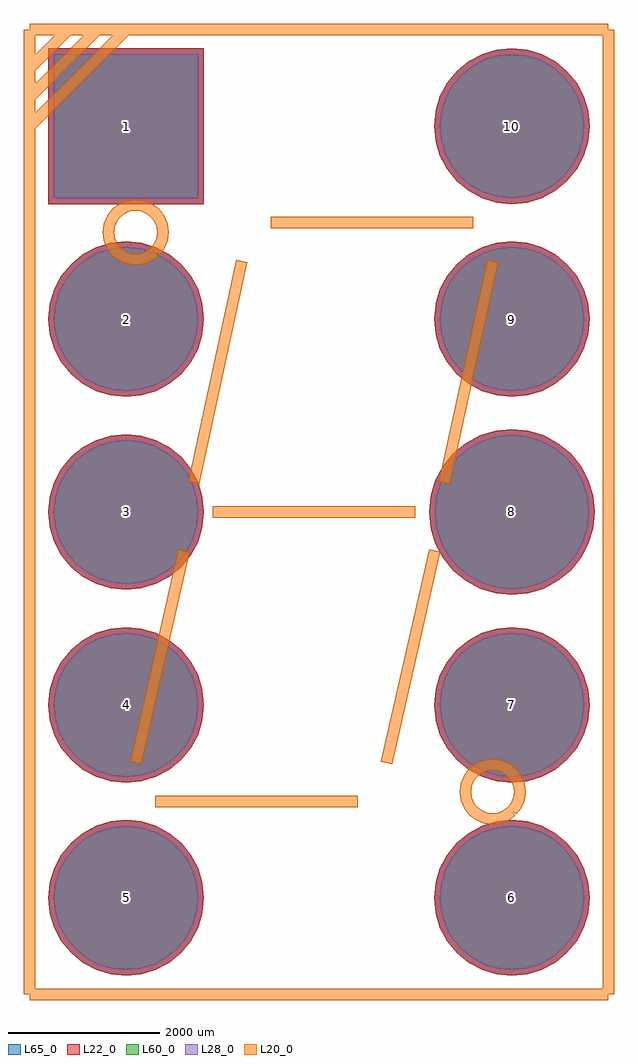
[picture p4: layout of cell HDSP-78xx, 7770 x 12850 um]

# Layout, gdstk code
import gdstk
lib = gdstk.Library(unit=1e-6, precision=1e-09)
def R(c, l, rs):  # rectangles x0, y0, x1, y1
    for r in rs: c.add(gdstk.rectangle(r[:2], r[2:], *l))
def P(c, l, *ps):  # polygons
    for p in ps: c.add(gdstk.Polygon(p, *l))
L20_0 = (20, 0)
L22_0 = (22, 0)
L28_0 = (28, 0)
L60_0 = (60, 0)
L65_0 = (65, 0)

hdsp_78xx = lib.new_cell('HDSP-78xx')
R(hdsp_78xx, L22_0, [(-3564.96,4055.04,-1515.04,6104.96)])
P(hdsp_78xx, L22_0, [(-1766.5,2540),(-1781.363,2690.902),(-1825.379,2836.006),(-1896.858,2969.734),(-1993.053,3086.947),(-2110.266,3183.142),(-2243.994,3254.621),(-2389.098,3298.637),(-2540,3313.5),(-2690.902,3298.637),(-2836.006,3254.621),(-2969.734,3183.142),(-3086.947,3086.947),(-3183.142,2969.734),(-3254.621,2836.006),(-3298.637,2690.902),(-3313.5,2540),(-3298.637,2389.098),(-3254.621,2243.994),(-3183.142,2110.266),(-3086.947,1993.053),(-2969.734,1896.858),(-2836.006,1825.379),(-2690.902,1781.363),(-2540,1766.5),(-2389.098,1781.363),(-2243.994,1825.379),(-2110.266,1896.858),(-1993.053,1993.053),(-1896.858,2110.266),(-1825.379,2243.994),(-1781.363,2389.098)],
  [(3564.96,5080),(3545.266,5279.96),(3486.94,5472.235),(3392.223,5649.437),(3264.756,5804.756),(3109.437,5932.223),(2932.235,6026.94),(2739.96,6085.266),(2540,6104.96),(2340.04,6085.266),(2147.765,6026.94),(1970.563,5932.223),(1815.244,5804.756),(1687.777,5649.437),(1593.06,5472.235),(1534.734,5279.96),(1515.04,5080),(1534.734,4880.04),(1593.06,4687.765),(1687.777,4510.563),(1815.244,4355.244),(1970.563,4227.777),(2147.765,4133.06),(2340.04,4074.734),(2540,4055.04),(2739.96,4074.734),(2932.235,4133.06),(3109.437,4227.777),(3264.756,4355.244),(3392.223,4510.563),(3486.94,4687.765),(3545.266,4880.04)],
  [(3564.96,2540),(3545.266,2739.96),(3486.94,2932.235),(3392.223,3109.437),(3264.756,3264.756),(3109.437,3392.223),(2932.235,3486.94),(2739.96,3545.266),(2540,3564.96),(2340.04,3545.266),(2147.765,3486.94),(1970.563,3392.223),(1815.244,3264.756),(1687.777,3109.437),(1593.06,2932.235),(1534.734,2739.96),(1515.04,2540),(1534.734,2340.04),(1593.06,2147.765),(1687.777,1970.563),(1815.244,1815.244),(1970.563,1687.777),(2147.765,1593.06),(2340.04,1534.734),(2540,1515.04),(2739.96,1534.734),(2932.235,1593.06),(3109.437,1687.777),(3264.756,1815.244),(3392.223,1970.563),(3486.94,2147.765),(3545.266,2340.04)],
  [(3631,0),(3610.037,212.844),(3547.953,417.508),(3447.133,606.127),(3311.453,771.453),(3146.127,907.133),(2957.508,1007.953),(2752.844,1070.037),(2540,1091),(2327.156,1070.037),(2122.492,1007.953),(1933.873,907.133),(1768.547,771.453),(1632.867,606.127),(1532.047,417.508),(1469.963,212.844),(1449,0),(1469.963,-212.844),(1532.047,-417.508),(1632.867,-606.127),(1768.547,-771.453),(1933.873,-907.133),(2122.492,-1007.953),(2327.156,-1070.037),(2540,-1091),(2752.844,-1070.037),(2957.508,-1007.953),(3146.127,-907.133),(3311.453,-771.453),(3447.133,-606.127),(3547.953,-417.508),(3610.037,-212.844)],
  [(3564.96,-2540),(3545.266,-2340.04),(3486.94,-2147.765),(3392.223,-1970.563),(3264.756,-1815.244),(3109.437,-1687.777),(2932.235,-1593.06),(2739.96,-1534.734),(2540,-1515.04),(2340.04,-1534.734),(2147.765,-1593.06),(1970.563,-1687.777),(1815.244,-1815.244),(1687.777,-1970.563),(1593.06,-2147.765),(1534.734,-2340.04),(1515.04,-2540),(1534.734,-2739.96),(1593.06,-2932.235),(1687.777,-3109.437),(1815.244,-3264.756),(1970.563,-3392.223),(2147.765,-3486.94),(2340.04,-3545.266),(2540,-3564.96),(2739.96,-3545.266),(2932.235,-3486.94),(3109.437,-3392.223),(3264.756,-3264.756),(3392.223,-3109.437),(3486.94,-2932.235),(3545.266,-2739.96)],
  [(3564.96,-5080),(3545.266,-4880.04),(3486.94,-4687.765),(3392.223,-4510.563),(3264.756,-4355.244),(3109.437,-4227.777),(2932.235,-4133.06),(2739.96,-4074.734),(2540,-4055.04),(2340.04,-4074.734),(2147.765,-4133.06),(1970.563,-4227.777),(1815.244,-4355.244),(1687.777,-4510.563),(1593.06,-4687.765),(1534.734,-4880.04),(1515.04,-5080),(1534.734,-5279.96),(1593.06,-5472.235),(1687.777,-5649.437),(1815.244,-5804.756),(1970.563,-5932.223),(2147.765,-6026.94),(2340.04,-6085.266),(2540,-6104.96),(2739.96,-6085.266),(2932.235,-6026.94),(3109.437,-5932.223),(3264.756,-5804.756),(3392.223,-5649.437),(3486.94,-5472.235),(3545.266,-5279.96)],
  [(-1515.04,-5080),(-1534.734,-4880.04),(-1593.06,-4687.765),(-1687.777,-4510.563),(-1815.244,-4355.244),(-1970.563,-4227.777),(-2147.765,-4133.06),(-2340.04,-4074.734),(-2540,-4055.04),(-2739.96,-4074.734),(-2932.235,-4133.06),(-3109.437,-4227.777),(-3264.756,-4355.244),(-3392.223,-4510.563),(-3486.94,-4687.765),(-3545.266,-4880.04),(-3564.96,-5080),(-3545.266,-5279.96),(-3486.94,-5472.235),(-3392.223,-5649.437),(-3264.756,-5804.756),(-3109.437,-5932.223),(-2932.235,-6026.94),(-2739.96,-6085.266),(-2540,-6104.96),(-2340.04,-6085.266),(-2147.765,-6026.94),(-1970.563,-5932.223),(-1815.244,-5804.756),(-1687.777,-5649.437),(-1593.06,-5472.235),(-1534.734,-5279.96)],
  [(-1515.04,-2540),(-1534.734,-2340.04),(-1593.06,-2147.765),(-1687.777,-1970.563),(-1815.244,-1815.244),(-1970.563,-1687.777),(-2147.765,-1593.06),(-2340.04,-1534.734),(-2540,-1515.04),(-2739.96,-1534.734),(-2932.235,-1593.06),(-3109.437,-1687.777),(-3264.756,-1815.244),(-3392.223,-1970.563),(-3486.94,-2147.765),(-3545.266,-2340.04),(-3564.96,-2540),(-3545.266,-2739.96),(-3486.94,-2932.235),(-3392.223,-3109.437),(-3264.756,-3264.756),(-3109.437,-3392.223),(-2932.235,-3486.94),(-2739.96,-3545.266),(-2540,-3564.96),(-2340.04,-3545.266),(-2147.765,-3486.94),(-1970.563,-3392.223),(-1815.244,-3264.756),(-1687.777,-3109.437),(-1593.06,-2932.235),(-1534.734,-2739.96)],
  [(-1515.04,0),(-1534.734,199.96),(-1593.06,392.235),(-1687.777,569.437),(-1815.244,724.756),(-1970.563,852.223),(-2147.765,946.94),(-2340.04,1005.266),(-2540,1024.96),(-2739.96,1005.266),(-2932.235,946.94),(-3109.437,852.223),(-3264.756,724.756),(-3392.223,569.437),(-3486.94,392.235),(-3545.266,199.96),(-3564.96,0),(-3545.266,-199.96),(-3486.94,-392.235),(-3392.223,-569.437),(-3264.756,-724.756),(-3109.437,-852.223),(-2932.235,-946.94),(-2739.96,-1005.266),(-2540,-1024.96),(-2340.04,-1005.266),(-2147.765,-946.94),(-1970.563,-852.223),(-1815.244,-724.756),(-1687.777,-569.437),(-1593.06,-392.235),(-1534.734,-199.96)],
  [(-1515.04,2540),(-1534.734,2739.96),(-1593.06,2932.235),(-1687.777,3109.437),(-1815.244,3264.756),(-1970.563,3392.223),(-2147.765,3486.94),(-2340.04,3545.266),(-2540,3564.96),(-2739.96,3545.266),(-2932.235,3486.94),(-3109.437,3392.223),(-3264.756,3264.756),(-3392.223,3109.437),(-3486.94,2932.235),(-3545.266,2739.96),(-3564.96,2540),(-3545.266,2340.04),(-3486.94,2147.765),(-3392.223,1970.563),(-3264.756,1815.244),(-3109.437,1687.777),(-2932.235,1593.06),(-2739.96,1534.734),(-2540,1515.04),(-2340.04,1534.734),(-2147.765,1593.06),(-1970.563,1687.777),(-1815.244,1815.244),(-1687.777,1970.563),(-1593.06,2147.765),(-1534.734,2340.04)])
R(hdsp_78xx, L28_0, [(-3489.96,4130.04,-1590.04,6029.96)])
P(hdsp_78xx, L28_0, [(-1841.5,2540),(-1854.921,2676.271),(-1894.67,2807.304),(-1959.218,2928.066),(-2046.086,3033.914),(-2151.934,3120.782),(-2272.696,3185.33),(-2403.729,3225.079),(-2540,3238.5),(-2676.271,3225.079),(-2807.304,3185.33),(-2928.066,3120.782),(-3033.914,3033.914),(-3120.782,2928.066),(-3185.33,2807.304),(-3225.079,2676.271),(-3238.5,2540),(-3225.079,2403.729),(-3185.33,2272.696),(-3120.782,2151.934),(-3033.914,2046.086),(-2928.066,1959.218),(-2807.304,1894.67),(-2676.271,1854.921),(-2540,1841.5),(-2403.729,1854.921),(-2272.696,1894.67),(-2151.934,1959.218),(-2046.086,2046.086),(-1959.218,2151.934),(-1894.67,2272.696),(-1854.921,2403.729)],
  [(3489.96,5080),(3471.707,5265.328),(3417.649,5443.534),(3329.863,5607.769),(3211.723,5751.723),(3067.769,5869.863),(2903.534,5957.649),(2725.328,6011.707),(2540,6029.96),(2354.672,6011.707),(2176.466,5957.649),(2012.231,5869.863),(1868.277,5751.723),(1750.137,5607.769),(1662.351,5443.534),(1608.293,5265.328),(1590.04,5080),(1608.293,4894.672),(1662.351,4716.466),(1750.137,4552.231),(1868.277,4408.277),(2012.231,4290.137),(2176.466,4202.351),(2354.672,4148.293),(2540,4130.04),(2725.328,4148.293),(2903.534,4202.351),(3067.769,4290.137),(3211.723,4408.277),(3329.863,4552.231),(3417.649,4716.466),(3471.707,4894.672)],
  [(3489.96,2540),(3471.707,2725.328),(3417.649,2903.534),(3329.863,3067.769),(3211.723,3211.723),(3067.769,3329.863),(2903.534,3417.649),(2725.328,3471.707),(2540,3489.96),(2354.672,3471.707),(2176.466,3417.649),(2012.231,3329.863),(1868.277,3211.723),(1750.137,3067.769),(1662.351,2903.534),(1608.293,2725.328),(1590.04,2540),(1608.293,2354.672),(1662.351,2176.466),(1750.137,2012.231),(1868.277,1868.277),(2012.231,1750.137),(2176.466,1662.351),(2354.672,1608.293),(2540,1590.04),(2725.328,1608.293),(2903.534,1662.351),(3067.769,1750.137),(3211.723,1868.277),(3329.863,2012.231),(3417.649,2176.466),(3471.707,2354.672)],
  [(3556,0),(3536.478,198.212),(3478.662,388.806),(3384.773,564.459),(3258.42,718.42),(3104.459,844.773),(2928.806,938.662),(2738.212,996.478),(2540,1016),(2341.788,996.478),(2151.194,938.662),(1975.541,844.773),(1821.58,718.42),(1695.227,564.459),(1601.338,388.806),(1543.522,198.212),(1524,0),(1543.522,-198.212),(1601.338,-388.806),(1695.227,-564.459),(1821.58,-718.42),(1975.541,-844.773),(2151.194,-938.662),(2341.788,-996.478),(2540,-1016),(2738.212,-996.478),(2928.806,-938.662),(3104.459,-844.773),(3258.42,-718.42),(3384.773,-564.459),(3478.662,-388.806),(3536.478,-198.212)],
  [(3489.96,-2540),(3471.707,-2354.672),(3417.649,-2176.466),(3329.863,-2012.231),(3211.723,-1868.277),(3067.769,-1750.137),(2903.534,-1662.351),(2725.328,-1608.293),(2540,-1590.04),(2354.672,-1608.293),(2176.466,-1662.351),(2012.231,-1750.137),(1868.277,-1868.277),(1750.137,-2012.231),(1662.351,-2176.466),(1608.293,-2354.672),(1590.04,-2540),(1608.293,-2725.328),(1662.351,-2903.534),(1750.137,-3067.769),(1868.277,-3211.723),(2012.231,-3329.863),(2176.466,-3417.649),(2354.672,-3471.707),(2540,-3489.96),(2725.328,-3471.707),(2903.534,-3417.649),(3067.769,-3329.863),(3211.723,-3211.723),(3329.863,-3067.769),(3417.649,-2903.534),(3471.707,-2725.328)],
  [(3489.96,-5080),(3471.707,-4894.672),(3417.649,-4716.466),(3329.863,-4552.231),(3211.723,-4408.277),(3067.769,-4290.137),(2903.534,-4202.351),(2725.328,-4148.293),(2540,-4130.04),(2354.672,-4148.293),(2176.466,-4202.351),(2012.231,-4290.137),(1868.277,-4408.277),(1750.137,-4552.231),(1662.351,-4716.466),(1608.293,-4894.672),(1590.04,-5080),(1608.293,-5265.328),(1662.351,-5443.534),(1750.137,-5607.769),(1868.277,-5751.723),(2012.231,-5869.863),(2176.466,-5957.649),(2354.672,-6011.707),(2540,-6029.96),(2725.328,-6011.707),(2903.534,-5957.649),(3067.769,-5869.863),(3211.723,-5751.723),(3329.863,-5607.769),(3417.649,-5443.534),(3471.707,-5265.328)],
  [(-1590.04,-5080),(-1608.293,-4894.672),(-1662.351,-4716.466),(-1750.137,-4552.231),(-1868.277,-4408.277),(-2012.231,-4290.137),(-2176.466,-4202.351),(-2354.672,-4148.293),(-2540,-4130.04),(-2725.328,-4148.293),(-2903.534,-4202.351),(-3067.769,-4290.137),(-3211.723,-4408.277),(-3329.863,-4552.231),(-3417.649,-4716.466),(-3471.707,-4894.672),(-3489.96,-5080),(-3471.707,-5265.328),(-3417.649,-5443.534),(-3329.863,-5607.769),(-3211.723,-5751.723),(-3067.769,-5869.863),(-2903.534,-5957.649),(-2725.328,-6011.707),(-2540,-6029.96),(-2354.672,-6011.707),(-2176.466,-5957.649),(-2012.231,-5869.863),(-1868.277,-5751.723),(-1750.137,-5607.769),(-1662.351,-5443.534),(-1608.293,-5265.328)],
  [(-1590.04,-2540),(-1608.293,-2354.672),(-1662.351,-2176.466),(-1750.137,-2012.231),(-1868.277,-1868.277),(-2012.231,-1750.137),(-2176.466,-1662.351),(-2354.672,-1608.293),(-2540,-1590.04),(-2725.328,-1608.293),(-2903.534,-1662.351),(-3067.769,-1750.137),(-3211.723,-1868.277),(-3329.863,-2012.231),(-3417.649,-2176.466),(-3471.707,-2354.672),(-3489.96,-2540),(-3471.707,-2725.328),(-3417.649,-2903.534),(-3329.863,-3067.769),(-3211.723,-3211.723),(-3067.769,-3329.863),(-2903.534,-3417.649),(-2725.328,-3471.707),(-2540,-3489.96),(-2354.672,-3471.707),(-2176.466,-3417.649),(-2012.231,-3329.863),(-1868.277,-3211.723),(-1750.137,-3067.769),(-1662.351,-2903.534),(-1608.293,-2725.328)],
  [(-1590.04,0),(-1608.293,185.328),(-1662.351,363.534),(-1750.137,527.769),(-1868.277,671.723),(-2012.231,789.863),(-2176.466,877.649),(-2354.672,931.707),(-2540,949.96),(-2725.328,931.707),(-2903.534,877.649),(-3067.769,789.863),(-3211.723,671.723),(-3329.863,527.769),(-3417.649,363.534),(-3471.707,185.328),(-3489.96,0),(-3471.707,-185.328),(-3417.649,-363.534),(-3329.863,-527.769),(-3211.723,-671.723),(-3067.769,-789.863),(-2903.534,-877.649),(-2725.328,-931.707),(-2540,-949.96),(-2354.672,-931.707),(-2176.466,-877.649),(-2012.231,-789.863),(-1868.277,-671.723),(-1750.137,-527.769),(-1662.351,-363.534),(-1608.293,-185.328)],
  [(-1590.04,2540),(-1608.293,2725.328),(-1662.351,2903.534),(-1750.137,3067.769),(-1868.277,3211.723),(-2012.231,3329.863),(-2176.466,3417.649),(-2354.672,3471.707),(-2540,3489.96),(-2725.328,3471.707),(-2903.534,3417.649),(-3067.769,3329.863),(-3211.723,3211.723),(-3329.863,3067.769),(-3417.649,2903.534),(-3471.707,2725.328),(-3489.96,2540),(-3471.707,2354.672),(-3417.649,2176.466),(-3329.863,2012.231),(-3211.723,1868.277),(-3067.769,1750.137),(-2903.534,1662.351),(-2725.328,1608.293),(-2540,1590.04),(-2354.672,1608.293),(-2176.466,1662.351),(-2012.231,1750.137),(-1868.277,1868.277),(-1750.137,2012.231),(-1662.351,2176.466),(-1608.293,2354.672)])
R(hdsp_78xx, L60_0, [(-3489.96,4130.04,-1590.04,6029.96)])
P(hdsp_78xx, L60_0, [(-1841.5,2540),(-1854.921,2676.271),(-1894.67,2807.304),(-1959.218,2928.066),(-2046.086,3033.914),(-2151.934,3120.782),(-2272.696,3185.33),(-2403.729,3225.079),(-2540,3238.5),(-2676.271,3225.079),(-2807.304,3185.33),(-2928.066,3120.782),(-3033.914,3033.914),(-3120.782,2928.066),(-3185.33,2807.304),(-3225.079,2676.271),(-3238.5,2540),(-3225.079,2403.729),(-3185.33,2272.696),(-3120.782,2151.934),(-3033.914,2046.086),(-2928.066,1959.218),(-2807.304,1894.67),(-2676.271,1854.921),(-2540,1841.5),(-2403.729,1854.921),(-2272.696,1894.67),(-2151.934,1959.218),(-2046.086,2046.086),(-1959.218,2151.934),(-1894.67,2272.696),(-1854.921,2403.729)],
  [(3489.96,5080),(3471.707,5265.328),(3417.649,5443.534),(3329.863,5607.769),(3211.723,5751.723),(3067.769,5869.863),(2903.534,5957.649),(2725.328,6011.707),(2540,6029.96),(2354.672,6011.707),(2176.466,5957.649),(2012.231,5869.863),(1868.277,5751.723),(1750.137,5607.769),(1662.351,5443.534),(1608.293,5265.328),(1590.04,5080),(1608.293,4894.672),(1662.351,4716.466),(1750.137,4552.231),(1868.277,4408.277),(2012.231,4290.137),(2176.466,4202.351),(2354.672,4148.293),(2540,4130.04),(2725.328,4148.293),(2903.534,4202.351),(3067.769,4290.137),(3211.723,4408.277),(3329.863,4552.231),(3417.649,4716.466),(3471.707,4894.672)],
  [(3489.96,2540),(3471.707,2725.328),(3417.649,2903.534),(3329.863,3067.769),(3211.723,3211.723),(3067.769,3329.863),(2903.534,3417.649),(2725.328,3471.707),(2540,3489.96),(2354.672,3471.707),(2176.466,3417.649),(2012.231,3329.863),(1868.277,3211.723),(1750.137,3067.769),(1662.351,2903.534),(1608.293,2725.328),(1590.04,2540),(1608.293,2354.672),(1662.351,2176.466),(1750.137,2012.231),(1868.277,1868.277),(2012.231,1750.137),(2176.466,1662.351),(2354.672,1608.293),(2540,1590.04),(2725.328,1608.293),(2903.534,1662.351),(3067.769,1750.137),(3211.723,1868.277),(3329.863,2012.231),(3417.649,2176.466),(3471.707,2354.672)],
  [(3556,0),(3536.478,198.212),(3478.662,388.806),(3384.773,564.459),(3258.42,718.42),(3104.459,844.773),(2928.806,938.662),(2738.212,996.478),(2540,1016),(2341.788,996.478),(2151.194,938.662),(1975.541,844.773),(1821.58,718.42),(1695.227,564.459),(1601.338,388.806),(1543.522,198.212),(1524,0),(1543.522,-198.212),(1601.338,-388.806),(1695.227,-564.459),(1821.58,-718.42),(1975.541,-844.773),(2151.194,-938.662),(2341.788,-996.478),(2540,-1016),(2738.212,-996.478),(2928.806,-938.662),(3104.459,-844.773),(3258.42,-718.42),(3384.773,-564.459),(3478.662,-388.806),(3536.478,-198.212)],
  [(3489.96,-2540),(3471.707,-2354.672),(3417.649,-2176.466),(3329.863,-2012.231),(3211.723,-1868.277),(3067.769,-1750.137),(2903.534,-1662.351),(2725.328,-1608.293),(2540,-1590.04),(2354.672,-1608.293),(2176.466,-1662.351),(2012.231,-1750.137),(1868.277,-1868.277),(1750.137,-2012.231),(1662.351,-2176.466),(1608.293,-2354.672),(1590.04,-2540),(1608.293,-2725.328),(1662.351,-2903.534),(1750.137,-3067.769),(1868.277,-3211.723),(2012.231,-3329.863),(2176.466,-3417.649),(2354.672,-3471.707),(2540,-3489.96),(2725.328,-3471.707),(2903.534,-3417.649),(3067.769,-3329.863),(3211.723,-3211.723),(3329.863,-3067.769),(3417.649,-2903.534),(3471.707,-2725.328)],
  [(3489.96,-5080),(3471.707,-4894.672),(3417.649,-4716.466),(3329.863,-4552.231),(3211.723,-4408.277),(3067.769,-4290.137),(2903.534,-4202.351),(2725.328,-4148.293),(2540,-4130.04),(2354.672,-4148.293),(2176.466,-4202.351),(2012.231,-4290.137),(1868.277,-4408.277),(1750.137,-4552.231),(1662.351,-4716.466),(1608.293,-4894.672),(1590.04,-5080),(1608.293,-5265.328),(1662.351,-5443.534),(1750.137,-5607.769),(1868.277,-5751.723),(2012.231,-5869.863),(2176.466,-5957.649),(2354.672,-6011.707),(2540,-6029.96),(2725.328,-6011.707),(2903.534,-5957.649),(3067.769,-5869.863),(3211.723,-5751.723),(3329.863,-5607.769),(3417.649,-5443.534),(3471.707,-5265.328)],
  [(-1590.04,-5080),(-1608.293,-4894.672),(-1662.351,-4716.466),(-1750.137,-4552.231),(-1868.277,-4408.277),(-2012.231,-4290.137),(-2176.466,-4202.351),(-2354.672,-4148.293),(-2540,-4130.04),(-2725.328,-4148.293),(-2903.534,-4202.351),(-3067.769,-4290.137),(-3211.723,-4408.277),(-3329.863,-4552.231),(-3417.649,-4716.466),(-3471.707,-4894.672),(-3489.96,-5080),(-3471.707,-5265.328),(-3417.649,-5443.534),(-3329.863,-5607.769),(-3211.723,-5751.723),(-3067.769,-5869.863),(-2903.534,-5957.649),(-2725.328,-6011.707),(-2540,-6029.96),(-2354.672,-6011.707),(-2176.466,-5957.649),(-2012.231,-5869.863),(-1868.277,-5751.723),(-1750.137,-5607.769),(-1662.351,-5443.534),(-1608.293,-5265.328)],
  [(-1590.04,-2540),(-1608.293,-2354.672),(-1662.351,-2176.466),(-1750.137,-2012.231),(-1868.277,-1868.277),(-2012.231,-1750.137),(-2176.466,-1662.351),(-2354.672,-1608.293),(-2540,-1590.04),(-2725.328,-1608.293),(-2903.534,-1662.351),(-3067.769,-1750.137),(-3211.723,-1868.277),(-3329.863,-2012.231),(-3417.649,-2176.466),(-3471.707,-2354.672),(-3489.96,-2540),(-3471.707,-2725.328),(-3417.649,-2903.534),(-3329.863,-3067.769),(-3211.723,-3211.723),(-3067.769,-3329.863),(-2903.534,-3417.649),(-2725.328,-3471.707),(-2540,-3489.96),(-2354.672,-3471.707),(-2176.466,-3417.649),(-2012.231,-3329.863),(-1868.277,-3211.723),(-1750.137,-3067.769),(-1662.351,-2903.534),(-1608.293,-2725.328)],
  [(-1590.04,0),(-1608.293,185.328),(-1662.351,363.534),(-1750.137,527.769),(-1868.277,671.723),(-2012.231,789.863),(-2176.466,877.649),(-2354.672,931.707),(-2540,949.96),(-2725.328,931.707),(-2903.534,877.649),(-3067.769,789.863),(-3211.723,671.723),(-3329.863,527.769),(-3417.649,363.534),(-3471.707,185.328),(-3489.96,0),(-3471.707,-185.328),(-3417.649,-363.534),(-3329.863,-527.769),(-3211.723,-671.723),(-3067.769,-789.863),(-2903.534,-877.649),(-2725.328,-931.707),(-2540,-949.96),(-2354.672,-931.707),(-2176.466,-877.649),(-2012.231,-789.863),(-1868.277,-671.723),(-1750.137,-527.769),(-1662.351,-363.534),(-1608.293,-185.328)],
  [(-1590.04,2540),(-1608.293,2725.328),(-1662.351,2903.534),(-1750.137,3067.769),(-1868.277,3211.723),(-2012.231,3329.863),(-2176.466,3417.649),(-2354.672,3471.707),(-2540,3489.96),(-2725.328,3471.707),(-2903.534,3417.649),(-3067.769,3329.863),(-3211.723,3211.723),(-3329.863,3067.769),(-3417.649,2903.534),(-3471.707,2725.328),(-3489.96,2540),(-3471.707,2354.672),(-3417.649,2176.466),(-3329.863,2012.231),(-3211.723,1868.277),(-3067.769,1750.137),(-2903.534,1662.351),(-2725.328,1608.293),(-2540,1590.04),(-2354.672,1608.293),(-2176.466,1662.351),(-2012.231,1750.137),(-1868.277,1868.277),(-1750.137,2012.231),(-1662.351,2176.466),(-1608.293,2354.672)])
R(hdsp_78xx, L65_0, [(-3564.96,4055.04,-1515.04,6104.96)])
P(hdsp_78xx, L65_0, [(-1766.5,2540),(-1781.363,2690.902),(-1825.379,2836.006),(-1896.858,2969.734),(-1993.053,3086.947),(-2110.266,3183.142),(-2243.994,3254.621),(-2389.098,3298.637),(-2540,3313.5),(-2690.902,3298.637),(-2836.006,3254.621),(-2969.734,3183.142),(-3086.947,3086.947),(-3183.142,2969.734),(-3254.621,2836.006),(-3298.637,2690.902),(-3313.5,2540),(-3298.637,2389.098),(-3254.621,2243.994),(-3183.142,2110.266),(-3086.947,1993.053),(-2969.734,1896.858),(-2836.006,1825.379),(-2690.902,1781.363),(-2540,1766.5),(-2389.098,1781.363),(-2243.994,1825.379),(-2110.266,1896.858),(-1993.053,1993.053),(-1896.858,2110.266),(-1825.379,2243.994),(-1781.363,2389.098)],
  [(3564.96,5080),(3545.266,5279.96),(3486.94,5472.235),(3392.223,5649.437),(3264.756,5804.756),(3109.437,5932.223),(2932.235,6026.94),(2739.96,6085.266),(2540,6104.96),(2340.04,6085.266),(2147.765,6026.94),(1970.563,5932.223),(1815.244,5804.756),(1687.777,5649.437),(1593.06,5472.235),(1534.734,5279.96),(1515.04,5080),(1534.734,4880.04),(1593.06,4687.765),(1687.777,4510.563),(1815.244,4355.244),(1970.563,4227.777),(2147.765,4133.06),(2340.04,4074.734),(2540,4055.04),(2739.96,4074.734),(2932.235,4133.06),(3109.437,4227.777),(3264.756,4355.244),(3392.223,4510.563),(3486.94,4687.765),(3545.266,4880.04)],
  [(3564.96,2540),(3545.266,2739.96),(3486.94,2932.235),(3392.223,3109.437),(3264.756,3264.756),(3109.437,3392.223),(2932.235,3486.94),(2739.96,3545.266),(2540,3564.96),(2340.04,3545.266),(2147.765,3486.94),(1970.563,3392.223),(1815.244,3264.756),(1687.777,3109.437),(1593.06,2932.235),(1534.734,2739.96),(1515.04,2540),(1534.734,2340.04),(1593.06,2147.765),(1687.777,1970.563),(1815.244,1815.244),(1970.563,1687.777),(2147.765,1593.06),(2340.04,1534.734),(2540,1515.04),(2739.96,1534.734),(2932.235,1593.06),(3109.437,1687.777),(3264.756,1815.244),(3392.223,1970.563),(3486.94,2147.765),(3545.266,2340.04)],
  [(3631,0),(3610.037,212.844),(3547.953,417.508),(3447.133,606.127),(3311.453,771.453),(3146.127,907.133),(2957.508,1007.953),(2752.844,1070.037),(2540,1091),(2327.156,1070.037),(2122.492,1007.953),(1933.873,907.133),(1768.547,771.453),(1632.867,606.127),(1532.047,417.508),(1469.963,212.844),(1449,0),(1469.963,-212.844),(1532.047,-417.508),(1632.867,-606.127),(1768.547,-771.453),(1933.873,-907.133),(2122.492,-1007.953),(2327.156,-1070.037),(2540,-1091),(2752.844,-1070.037),(2957.508,-1007.953),(3146.127,-907.133),(3311.453,-771.453),(3447.133,-606.127),(3547.953,-417.508),(3610.037,-212.844)],
  [(3564.96,-2540),(3545.266,-2340.04),(3486.94,-2147.765),(3392.223,-1970.563),(3264.756,-1815.244),(3109.437,-1687.777),(2932.235,-1593.06),(2739.96,-1534.734),(2540,-1515.04),(2340.04,-1534.734),(2147.765,-1593.06),(1970.563,-1687.777),(1815.244,-1815.244),(1687.777,-1970.563),(1593.06,-2147.765),(1534.734,-2340.04),(1515.04,-2540),(1534.734,-2739.96),(1593.06,-2932.235),(1687.777,-3109.437),(1815.244,-3264.756),(1970.563,-3392.223),(2147.765,-3486.94),(2340.04,-3545.266),(2540,-3564.96),(2739.96,-3545.266),(2932.235,-3486.94),(3109.437,-3392.223),(3264.756,-3264.756),(3392.223,-3109.437),(3486.94,-2932.235),(3545.266,-2739.96)],
  [(3564.96,-5080),(3545.266,-4880.04),(3486.94,-4687.765),(3392.223,-4510.563),(3264.756,-4355.244),(3109.437,-4227.777),(2932.235,-4133.06),(2739.96,-4074.734),(2540,-4055.04),(2340.04,-4074.734),(2147.765,-4133.06),(1970.563,-4227.777),(1815.244,-4355.244),(1687.777,-4510.563),(1593.06,-4687.765),(1534.734,-4880.04),(1515.04,-5080),(1534.734,-5279.96),(1593.06,-5472.235),(1687.777,-5649.437),(1815.244,-5804.756),(1970.563,-5932.223),(2147.765,-6026.94),(2340.04,-6085.266),(2540,-6104.96),(2739.96,-6085.266),(2932.235,-6026.94),(3109.437,-5932.223),(3264.756,-5804.756),(3392.223,-5649.437),(3486.94,-5472.235),(3545.266,-5279.96)],
  [(-1515.04,-5080),(-1534.734,-4880.04),(-1593.06,-4687.765),(-1687.777,-4510.563),(-1815.244,-4355.244),(-1970.563,-4227.777),(-2147.765,-4133.06),(-2340.04,-4074.734),(-2540,-4055.04),(-2739.96,-4074.734),(-2932.235,-4133.06),(-3109.437,-4227.777),(-3264.756,-4355.244),(-3392.223,-4510.563),(-3486.94,-4687.765),(-3545.266,-4880.04),(-3564.96,-5080),(-3545.266,-5279.96),(-3486.94,-5472.235),(-3392.223,-5649.437),(-3264.756,-5804.756),(-3109.437,-5932.223),(-2932.235,-6026.94),(-2739.96,-6085.266),(-2540,-6104.96),(-2340.04,-6085.266),(-2147.765,-6026.94),(-1970.563,-5932.223),(-1815.244,-5804.756),(-1687.777,-5649.437),(-1593.06,-5472.235),(-1534.734,-5279.96)],
  [(-1515.04,-2540),(-1534.734,-2340.04),(-1593.06,-2147.765),(-1687.777,-1970.563),(-1815.244,-1815.244),(-1970.563,-1687.777),(-2147.765,-1593.06),(-2340.04,-1534.734),(-2540,-1515.04),(-2739.96,-1534.734),(-2932.235,-1593.06),(-3109.437,-1687.777),(-3264.756,-1815.244),(-3392.223,-1970.563),(-3486.94,-2147.765),(-3545.266,-2340.04),(-3564.96,-2540),(-3545.266,-2739.96),(-3486.94,-2932.235),(-3392.223,-3109.437),(-3264.756,-3264.756),(-3109.437,-3392.223),(-2932.235,-3486.94),(-2739.96,-3545.266),(-2540,-3564.96),(-2340.04,-3545.266),(-2147.765,-3486.94),(-1970.563,-3392.223),(-1815.244,-3264.756),(-1687.777,-3109.437),(-1593.06,-2932.235),(-1534.734,-2739.96)],
  [(-1515.04,0),(-1534.734,199.96),(-1593.06,392.235),(-1687.777,569.437),(-1815.244,724.756),(-1970.563,852.223),(-2147.765,946.94),(-2340.04,1005.266),(-2540,1024.96),(-2739.96,1005.266),(-2932.235,946.94),(-3109.437,852.223),(-3264.756,724.756),(-3392.223,569.437),(-3486.94,392.235),(-3545.266,199.96),(-3564.96,0),(-3545.266,-199.96),(-3486.94,-392.235),(-3392.223,-569.437),(-3264.756,-724.756),(-3109.437,-852.223),(-2932.235,-946.94),(-2739.96,-1005.266),(-2540,-1024.96),(-2340.04,-1005.266),(-2147.765,-946.94),(-1970.563,-852.223),(-1815.244,-724.756),(-1687.777,-569.437),(-1593.06,-392.235),(-1534.734,-199.96)],
  [(-1515.04,2540),(-1534.734,2739.96),(-1593.06,2932.235),(-1687.777,3109.437),(-1815.244,3264.756),(-1970.563,3392.223),(-2147.765,3486.94),(-2340.04,3545.266),(-2540,3564.96),(-2739.96,3545.266),(-2932.235,3486.94),(-3109.437,3392.223),(-3264.756,3264.756),(-3392.223,3109.437),(-3486.94,2932.235),(-3545.266,2739.96),(-3564.96,2540),(-3545.266,2340.04),(-3486.94,2147.765),(-3392.223,1970.563),(-3264.756,1815.244),(-3109.437,1687.777),(-2932.235,1593.06),(-2739.96,1534.734),(-2540,1515.04),(-2340.04,1534.734),(-2147.765,1593.06),(-1970.563,1687.777),(-1815.244,1815.244),(-1687.777,1970.563),(-1593.06,2147.765),(-1534.734,2340.04)])
hdsp_78xx.add(gdstk.FlexPath([(3810,-6350),(3810,6350)], 149.998, ends="flush", simple_path=True, layer=20, datatype=0))  # L20_0
hdsp_78xx.add(gdstk.FlexPath([(-3810,-6350),(3810,-6350)], 149.998, ends="flush", simple_path=True, layer=20, datatype=0))  # L20_0
hdsp_78xx.add(gdstk.FlexPath([(-3810,6350),(-3810,-6350)], 149.998, ends="flush", simple_path=True, layer=20, datatype=0))  # L20_0
hdsp_78xx.add(gdstk.FlexPath([(3810,6350),(-3810,6350)], 149.998, ends="flush", simple_path=True, layer=20, datatype=0))  # L20_0
hdsp_78xx.add(gdstk.FlexPath([(-3810,5461),(-2921,6350)], 149.998, ends="flush", simple_path=True, layer=20, datatype=0))  # L20_0
hdsp_78xx.add(gdstk.FlexPath([(-3810,5842),(-3302,6350)], 149.998, ends="flush", simple_path=True, layer=20, datatype=0))  # L20_0
hdsp_78xx.add(gdstk.FlexPath([(-1397,0),(1270,0)], 149.998, ends="flush", simple_path=True, layer=20, datatype=0))  # L20_0
hdsp_78xx.add(gdstk.FlexPath([(-635,3810),(2032,3810)], 149.998, ends="flush", simple_path=True, layer=20, datatype=0))  # L20_0
hdsp_78xx.add(gdstk.FlexPath([(-2159,-3810),(508,-3810)], 149.998, ends="flush", simple_path=True, layer=20, datatype=0))  # L20_0
hdsp_78xx.add(gdstk.FlexPath([(-1651,381),(-1016,3302)], 149.998, ends="flush", simple_path=True, layer=20, datatype=0))  # L20_0
hdsp_78xx.add(gdstk.FlexPath([(1651,381),(2286,3302)], 149.998, ends="flush", simple_path=True, layer=20, datatype=0))  # L20_0
hdsp_78xx.add(gdstk.FlexPath([(889,-3302),(1524,-508)], 149.998, ends="flush", simple_path=True, layer=20, datatype=0))  # L20_0
hdsp_78xx.add(gdstk.FlexPath([(-2413,-3302),(-1778,-508)], 149.998, ends="flush", simple_path=True, layer=20, datatype=0))  # L20_0
hdsp_78xx.add(gdstk.FlexPath([(2540,-3937),(2597.085,-3862.605),(2632.97,-3775.97),(2645.21,-3683),(2632.97,-3590.03),(2597.085,-3503.395),(2540,-3429),(2465.605,-3371.915),(2378.97,-3336.03),(2286,-3323.79),(2193.03,-3336.03),(2106.395,-3371.915),(2032,-3429),(1974.915,-3503.395),(1939.03,-3590.03),(1926.79,-3683),(1939.03,-3775.97),(1974.915,-3862.605),(2032,-3937),(2106.395,-3994.085),(2193.03,-4029.97),(2286,-4042.21),(2378.97,-4029.97),(2465.605,-3994.085),(2540,-3937)], 149.998, ends="flush", simple_path=True, layer=20, datatype=0))  # L20_0
hdsp_78xx.add(gdstk.FlexPath([(-2159,3429),(-2101.915,3503.395),(-2066.03,3590.03),(-2053.79,3683),(-2066.03,3775.97),(-2101.915,3862.605),(-2159,3937),(-2233.395,3994.085),(-2320.03,4029.97),(-2413,4042.21),(-2505.97,4029.97),(-2592.605,3994.085),(-2667,3937),(-2724.085,3862.605),(-2759.97,3775.97),(-2772.21,3683),(-2759.97,3590.03),(-2724.085,3503.395),(-2667,3429),(-2592.605,3371.915),(-2505.97,3336.03),(-2413,3323.79),(-2320.03,3336.03),(-2233.395,3371.915),(-2159,3429)], 149.998, ends="flush", simple_path=True, layer=20, datatype=0))  # L20_0
hdsp_78xx.add(gdstk.FlexPath([(-3810,5080),(-2540,6350)], 149.998, ends="flush", simple_path=True, layer=20, datatype=0))  # L20_0
hdsp_78xx.add(gdstk.Label('10', (2540,5080), layer=28, texttype=0))
hdsp_78xx.add(gdstk.Label('9', (2540,2540), layer=28, texttype=0))
hdsp_78xx.add(gdstk.Label('8', (2540,0), layer=28, texttype=0))
hdsp_78xx.add(gdstk.Label('7', (2540,-2540), layer=28, texttype=0))
hdsp_78xx.add(gdstk.Label('6', (2540,-5080), layer=28, texttype=0))
hdsp_78xx.add(gdstk.Label('5', (-2540,-5080), layer=28, texttype=0))
hdsp_78xx.add(gdstk.Label('4', (-2540,-2540), layer=28, texttype=0))
hdsp_78xx.add(gdstk.Label('3', (-2540,0), layer=28, texttype=0))
hdsp_78xx.add(gdstk.Label('2', (-2540,2540), layer=28, texttype=0))
hdsp_78xx.add(gdstk.Label('1', (-2540,5080), layer=28, texttype=0))
hdsp_78xx.add(gdstk.Label('type', (635,-10795), layer=9, texttype=0))
hdsp_78xx.add(gdstk.Label('devicename', (0,10795), layer=9, texttype=0))

lib.write_gds('HDSP-78xx.gds')
